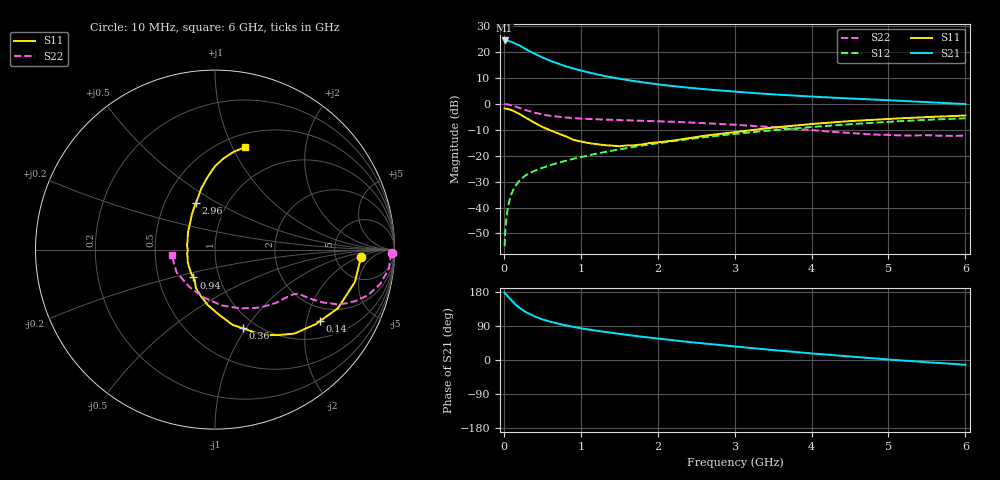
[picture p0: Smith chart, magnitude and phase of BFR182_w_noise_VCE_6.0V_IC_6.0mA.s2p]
! Infineon Technologies  Discrete & RF Semiconductors
! BFR182
! VCE =  6.0 V,  IC =  6.0 mA
! Common Emitter S-Parameters:  Nov 2015
# GHz  S  MA  R  50
!  f  S11  S21  S12  S22
! GHz  MAG  ANG  MAG  ANG  MAG  ANG  MAG  ANG
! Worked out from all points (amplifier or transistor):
!   210 points, 10 MHz to 6 GHz, reference 50 ohm
!   highest |S21| = 24.4 dB at 10 MHz (marker M1)
!   |S21| within 3 dB of that: start of sweep to 266.4 MHz
!   unconditionally stable (mu >= 1): 1.004 GHz to 2.846 GHz
!   at 185 MHz: K = 0.37, MSG = 26.5 dB, |S12| = -30.3 dB
!   at 1.52 GHz: K = 1.05, MAG = 12.1 dB, |S12| = -17.5 dB
!   at 6 GHz: K = 0.88, MSG = 2.7 dB, |S12| = -5.6 dB
!   lowest NFmin = 1.20 dB at 450 MHz
!   S11 on the Smith chart (normalised r, x): 10 MHz: 9.18, -2.15; 140 MHz: 1.51, -2.41; 360 MHz: 0.86, -0.97; 940 MHz: 0.75, -0.24; 2.96 GHz: 0.71, +0.40; 6 GHz: 0.63, +1.12
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0.01  0.8128 -2.8  16.66 177.4  0.0018 85.9  0.9885 -1.2
0.02  0.8097 -4.9  16.32 174.9  0.0039 91.6  0.9791 -2.5
0.05  0.8002 -13.0  16.41 168.1  0.0094 81.8  0.9749 -6.2
0.1  0.7588 -25.5  15.68 157.3  0.0185 78.0  0.9396 -11.9
0.14  0.708 -34.2  14.68 148.9  0.0247 73.1  0.8997 -15.5
0.2  0.6443 -46.6  13.44 138.2  0.0325 68.5  0.8359 -20.0
0.24  0.5915 -53.6  12.42 132.4  0.0371 66.4  0.7953 -22.0
0.3  0.5241 -63.0  11.04 124.8  0.0432 64.4  0.7452 -24.1
0.36  0.4648 -70.6  9.959 119.4  0.048 63.2  0.7027 -25.2
0.4  0.4309 -76.8  9.296 115.1  0.0512 62.5  0.6745 -26.0
0.5  0.3581 -87.4  7.846 107.0  0.058 62.1  0.6225 -26.9
0.6  0.3106 -97.6  6.792 101.2  0.0656 62.2  0.5885 -27.3
0.76  0.2504 -112.4  5.58 93.4  0.0766 62.5  0.5537 -27.6
0.94  0.1966 -127.9  4.63 86.0  0.0897 63.3  0.5263 -28.1
1.02  0.1852 -136.5  4.314 83.2  0.0952 63.7  0.5174 -28.4
1.4  0.1568 -172.3  3.231 71.8  0.1245 63.7  0.4921 -31.5
2.02  0.1819 144.9  2.356 56.2  0.1754 61.8  0.4605 -38.5
2.96  0.2802 112.2  1.734 36.4  0.259 55.3  0.399 -54.3
3.1  0.2969 109.3  1.673 33.8  0.2718 54.0  0.3867 -57.3
4.1  0.4193 94.4  1.355 15.8  0.3662 44.0  0.3027 -86.8
5.1  0.5207 83.2  1.153 -0.1  0.4588 32.1  0.248 -129.5
6  0.5948 73.7  0.991 -12.5  0.5262 19.6  0.2434 -172.5
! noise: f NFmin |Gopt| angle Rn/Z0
0.45  1.2  0.27  37  0.3
0.9  1.3  0.25  75  0.23
1.8  1.9  0.21  145  0.2
